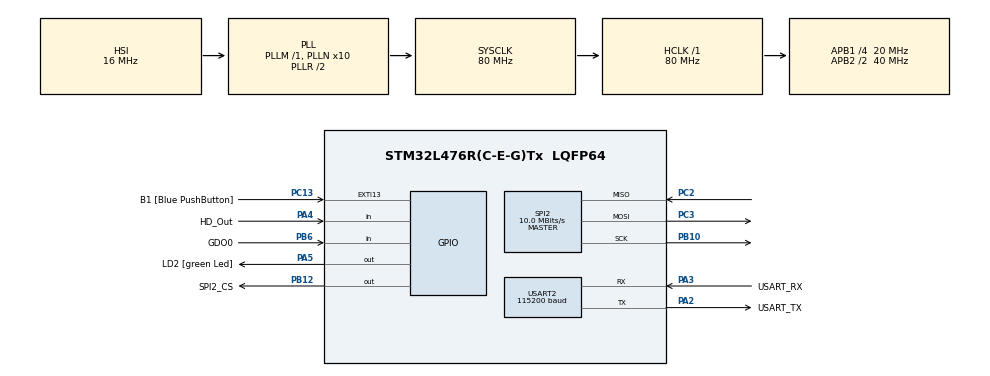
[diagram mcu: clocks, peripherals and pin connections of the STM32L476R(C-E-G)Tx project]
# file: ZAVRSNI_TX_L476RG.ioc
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FREERTOS.Queues01=myQueue01,1,uint8_t,0,Dynamic,NULL,NULL
FREERTOS.Tasks01=CC1101,24,200,StartCC1101,Default,NULL,Dynamic,NULL,NULL;HD,40,200,StartHD,Default,NULL,Dynamic,NULL,NULL
FREERTOS.configCHECK_FOR_STACK_OVERFLOW=2
FREERTOS.configGENERATE_RUN_TIME_STATS=1
FREERTOS.configRECORD_STACK_HIGH_ADDRESS=1
FREERTOS.configTICK_RATE_HZ=1000
FREERTOS.configUSE_STATS_FORMATTING_FUNCTIONS=1
Mcu.Family=STM32L4
Mcu.Name=STM32L476R(C-E-G)Tx
Mcu.Package=LQFP64
NVIC.PriorityGroup=NVIC_PRIORITYGROUP_4
NVIC.TIM3_IRQn=true\:15\:0\:false\:false\:true\:false\:false\:true\:true
NVIC.TimeBase=TIM3_IRQn
NVIC.TimeBaseIP=TIM3
PA13\ (JTMS-SWDIO).GPIO_Label=TMS
PA13\ (JTMS-SWDIO).Mode=Serial_Wire
PA13\ (JTMS-SWDIO).Signal=SYS_JTMS-SWDIO
PA14\ (JTCK-SWCLK).GPIO_Label=TCK
PA14\ (JTCK-SWCLK).Mode=Serial_Wire
PA14\ (JTCK-SWCLK).Signal=SYS_JTCK-SWCLK
PA2.GPIO_Label=USART_TX
PA2.GPIO_Mode=GPIO_MODE_AF_PP
PA2.GPIO_PuPd=GPIO_NOPULL
PA2.GPIO_Speed=GPIO_SPEED_FREQ_VERY_HIGH
PA2.Mode=Asynchronous
PA2.Signal=USART2_TX
PA3.GPIO_Label=USART_RX
PA3.GPIO_Mode=GPIO_MODE_AF_PP
PA3.GPIO_PuPd=GPIO_NOPULL
PA3.GPIO_Speed=GPIO_SPEED_FREQ_VERY_HIGH
PA3.Mode=Asynchronous
PA3.Signal=USART2_RX
PA4.GPIO_Label=HD_Out
PA4.Signal=GPIO_Input
PA5.GPIO_Label=LD2 [green Led]
PA5.GPIO_ModeDefaultOutputPP=GPIO_MODE_OUTPUT_PP
PA5.GPIO_PuPd=GPIO_NOPULL
PA5.GPIO_Speed=GPIO_SPEED_FREQ_LOW
PA5.Signal=GPIO_Output
PB10.Mode=Full_Duplex_Master
PB10.Signal=SPI2_SCK
PB12.GPIO_Label=SPI2_CS
PB12.PinState=GPIO_PIN_SET
PB12.Signal=GPIO_Output
PB3\ (JTDO-TRACESWO).GPIO_Label=SWO
PB3\ (JTDO-TRACESWO).Signal=SYS_JTDO-SWO
PB6.GPIO_Label=GDO0
PB6.Signal=GPIO_Input
PC13.GPIO_Label=B1 [Blue PushButton]
PC13.GPIO_ModeDefaultEXTI=GPIO_MODE_IT_FALLING
PC13.GPIO_PuPd=GPIO_NOPULL
PC13.Signal=GPXTI13
PC14-OSC32_IN\ (PC14).Mode=LSE-External-Oscillator
PC14-OSC32_IN\ (PC14).Signal=RCC_OSC32_IN
PC15-OSC32_OUT\ (PC15).Mode=LSE-External-Oscillator
PC15-OSC32_OUT\ (PC15).Signal=RCC_OSC32_OUT
PC2.Mode=Full_Duplex_Master
PC2.Signal=SPI2_MISO
PC3.Mode=Full_Duplex_Master
PC3.Signal=SPI2_MOSI
PH0-OSC_IN\ (PH0).Signal=RCC_OSC_IN
PH1-OSC_OUT\ (PH1).Signal=RCC_OSC_OUT
ProjectManager.HeapSize=0x200
ProjectManager.StackSize=0x400
ProjectManager.TargetToolchain=STM32CubeIDE
RCC.ADCFreq_Value=64000000
RCC.AHBFreq_Value=80000000
RCC.APB1CLKDivider=RCC_HCLK_DIV4
RCC.APB1Freq_Value=20000000
RCC.APB1TimFreq_Value=40000000
RCC.APB2CLKDivider=RCC_HCLK_DIV2
RCC.APB2Freq_Value=40000000
RCC.APB2TimFreq_Value=80000000
RCC.CortexFreq_Value=80000000
RCC.HCLKFreq_Value=80000000
RCC.HSE_VALUE=8000000
RCC.HSI_VALUE=16000000
RCC.MSI_VALUE=4000000
RCC.PLLN=10
RCC.PLLSourceVirtual=RCC_PLLSOURCE_HSI
RCC.SYSCLKFreq_VALUE=80000000
RCC.SYSCLKSource=RCC_SYSCLKSOURCE_PLLCLK
RCC.USBFreq_Value=64000000
RCC.VCOOutputFreq_Value=160000000
SPI2.BaudRatePrescaler=SPI_BAUDRATEPRESCALER_2
SPI2.CalculateBaudRate=10.0 MBits/s
SPI2.DataSize=SPI_DATASIZE_8BIT
SPI2.Direction=SPI_DIRECTION_2LINES
SPI2.Mode=SPI_MODE_MASTER
SPI2.NSSPMode=SPI_NSS_PULSE_DISABLE
SPI2.VirtualType=VM_MASTER
TIM1.Period=65535
TIM1.Prescaler=80-1
TIM2.Prescaler=1-1
USART2.BaudRate=115200
USART2.VirtualMode-Asynchronous=VM_ASYNC
VP_FREERTOS_VS_CMSIS_V2.Mode=CMSIS_V2
VP_SYS_VS_tim3.Mode=TIM3
VP_TIM1_VS_ClockSourceINT.Mode=Internal
VP_TIM2_VS_ClockSourceINT.Mode=Internal
board=NUCLEO-L476RG

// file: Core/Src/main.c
/* USER CODE BEGIN Header */
/**
  ******************************************************************************
  * @file           : main.c
  * @brief          : Main program body
  ******************************************************************************
  * @attention
  *
  * Copyright (c) 2024 STMicroelectronics.
  * All rights reserved.
  *
  * This software is licensed under terms that can be found in the LICENSE file
  * in the root directory of this software component.
  * If no LICENSE file comes with this software, it is provided AS-IS.
  *
  ******************************************************************************
  */
/* USER CODE END Header */
#include "main.h"
#include "cmsis_os.h"
#include "spi.h"
#include "tim.h"
#include "usart.h"
#include "gpio.h"

/* USER CODE BEGIN Includes */
#include "CC1101_E07_M1101D_SMA.h"
#include <string.h>
/* USER CODE END Includes */

void SystemClock_Config(void);
void MX_FREERTOS_Init(void);

int main(void)
{

  /* MCU Configuration--------------------------------------------------------*/

  /* Reset of all peripherals, Initializes the Flash interface and the Systick. */
  HAL_Init();

  /* Configure the system clock */
  SystemClock_Config();

  /* Initialize all configured peripherals */
  MX_GPIO_Init();
  MX_USART2_UART_Init();
  MX_SPI2_Init();
  MX_TIM1_Init();
  MX_TIM2_Init();
  /* USER CODE BEGIN 2 */
  HAL_TIM_Base_Start(&htim1);
  HAL_TIM_Base_Start(&htim2);

  manual_POR();
  cc1101_init(1);

  /* USER CODE END 2 */

  /* Init scheduler */
  osKernelInitialize();  /* Call init function for freertos objects (in freertos.c) */
  MX_FREERTOS_Init();

  /* Start scheduler */
  osKernelStart();

  /* We should never get here as control is now taken by the scheduler */
  /* Infinite loop */
  while (1)
  {

  }
}

void SystemClock_Config(void)
{
  RCC_OscInitTypeDef RCC_OscInitStruct = {0};
  RCC_ClkInitTypeDef RCC_ClkInitStruct = {0};

  /** Configure the main internal regulator output voltage
  */
  if (HAL_PWREx_ControlVoltageScaling(PWR_REGULATOR_VOLTAGE_SCALE1) != HAL_OK)
  {
    Error_Handler();
  }

  /** Initializes the RCC Oscillators according to the specified parameters
  * in the RCC_OscInitTypeDef structure.
  */
  RCC_OscInitStruct.OscillatorType = RCC_OSCILLATORTYPE_HSI;
  RCC_OscInitStruct.HSIState = RCC_HSI_ON;
  RCC_OscInitStruct.HSICalibrationValue = RCC_HSICALIBRATION_DEFAULT;
  RCC_OscInitStruct.PLL.PLLState = RCC_PLL_ON;
  RCC_OscInitStruct.PLL.PLLSource = RCC_PLLSOURCE_HSI;
  RCC_OscInitStruct.PLL.PLLM = 1;
  RCC_OscInitStruct.PLL.PLLN = 10;
  RCC_OscInitStruct.PLL.PLLP = RCC_PLLP_DIV7;
  RCC_OscInitStruct.PLL.PLLQ = RCC_PLLQ_DIV2;
  RCC_OscInitStruct.PLL.PLLR = RCC_PLLR_DIV2;
  if (HAL_RCC_OscConfig(&RCC_OscInitStruct) != HAL_OK)
  {
    Error_Handler();
  }

  /** Initializes the CPU, AHB and APB buses clocks
  */
  RCC_ClkInitStruct.ClockType = RCC_CLOCKTYPE_HCLK|RCC_CLOCKTYPE_SYSCLK
                              |RCC_CLOCKTYPE_PCLK1|RCC_CLOCKTYPE_PCLK2;
  RCC_ClkInitStruct.SYSCLKSource = RCC_SYSCLKSOURCE_PLLCLK;
  RCC_ClkInitStruct.AHBCLKDivider = RCC_SYSCLK_DIV1;
  RCC_ClkInitStruct.APB1CLKDivider = RCC_HCLK_DIV4;
  RCC_ClkInitStruct.APB2CLKDivider = RCC_HCLK_DIV2;

  if (HAL_RCC_ClockConfig(&RCC_ClkInitStruct, FLASH_LATENCY_4) != HAL_OK)
  {
    Error_Handler();
  }
}

void HAL_TIM_PeriodElapsedCallback(TIM_HandleTypeDef *htim)
{
  if (htim->Instance == TIM3) {
    HAL_IncTick();
  }
}

void Error_Handler(void)
{
  __disable_irq();
  while (1)
  {
  }
}

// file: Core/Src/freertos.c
/* USER CODE BEGIN Header */
/**
  ******************************************************************************
  * File Name          : freertos.c
  * Description        : Code for freertos applications
  ******************************************************************************
  * @attention
  *
  * Copyright (c) 2024 STMicroelectronics.
  * All rights reserved.
  *
  * This software is licensed under terms that can be found in the LICENSE file
  * in the root directory of this software component.
  * If no LICENSE file comes with this software, it is provided AS-IS.
  *
  ******************************************************************************
  */
/* USER CODE END Header */

#include "FreeRTOS.h"
#include "task.h"
#include "main.h"
#include "cmsis_os.h"

/* USER CODE BEGIN Includes */
#include "usart.h"
#include "CC1101_E07_M1101D_SMA.h"
#include <string.h>
#include <stdio.h>
/* USER CODE END Includes */

/* Definitions for CC1101 */
osThreadId_t CC1101Handle;
const osThreadAttr_t CC1101_attributes = {
  .name = "CC1101",
  .stack_size = 200 * 4,
  .priority = (osPriority_t) osPriorityNormal,
};
/* Definitions for HD */
osThreadId_t HDHandle;
const osThreadAttr_t HD_attributes = {
  .name = "HD",
  .stack_size = 200 * 4,
  .priority = (osPriority_t) osPriorityHigh,
};
/* Definitions for myQueue01 */
osMessageQueueId_t myQueue01Handle;
const osMessageQueueAttr_t myQueue01_attributes = {
  .name = "myQueue01"
};

void StartCC1101(void *argument);
void StartHD(void *argument);

void MX_FREERTOS_Init(void); /* (MISRA C 2004 rule 8.1) */

/* Hook prototypes */
void configureTimerForRunTimeStats(void);
unsigned long getRunTimeCounterValue(void);
void vApplicationStackOverflowHook(xTaskHandle xTask, signed char *pcTaskName);

/* USER CODE BEGIN 1 */
/* Functions needed when configGENERATE_RUN_TIME_STATS is on */
__weak void configureTimerForRunTimeStats(void)
{
	CoreDebug->DEMCR |= CoreDebug_DEMCR_TRCENA_Msk;
	DWT->CTRL |= 1;
	DWT->CYCCNT = 0;
}

__weak unsigned long getRunTimeCounterValue(void)
{
	return DWT->CYCCNT;
}
/* USER CODE END 1 */

/* USER CODE BEGIN 4 */
void vApplicationStackOverflowHook(xTaskHandle xTask, signed char *pcTaskName)
{
   /* Run time stack overflow checking is performed if
   configCHECK_FOR_STACK_OVERFLOW is defined to 1 or 2. This hook function is
   called if a stack overflow is detected. */
}
/* USER CODE END 4 */

void MX_FREERTOS_Init(void) {

  /* Create the queue(s) */
  /* creation of myQueue01 */
  myQueue01Handle = osMessageQueueNew (1, sizeof(uint8_t), &myQueue01_attributes);

  /* Create the thread(s) */
  /* creation of CC1101 */
  CC1101Handle = osThreadNew(StartCC1101, NULL, &CC1101_attributes);

  /* creation of HD */
  HDHandle = osThreadNew(StartHD, NULL, &HD_attributes);

}

void StartCC1101(void *argument)
{
  /* USER CODE BEGIN StartCC1101 */
  uint8_t msg;
  /* Infinite loop */
  for(;;)
  {
	  osMessageQueueGet(myQueue01Handle, &msg, 0, 0);
	  if(msg == 0xFF)
	  {
		  transmit_burst_byte_433();
	  }
	  osDelay(500 * configTICK_RATE_HZ / 500);
  }
  /* USER CODE END StartCC1101 */
}

void StartHD(void *argument)
{
  /* USER CODE BEGIN StartHD */
  uint8_t msg;
  /* Infinite loop */
  for(;;)
  {
	  if(HAL_GPIO_ReadPin(HD_Out_GPIO_Port, HD_Out_Pin))
	  {
		  msg = 0xFF;
		  osMessageQueuePut(myQueue01Handle, &msg, 0, 0);
	  }
	  else
	  {
		  msg = 0x00;
		  osMessageQueuePut(myQueue01Handle, &msg, 0, 0);
	  }
	  osDelay(100 * configTICK_RATE_HZ / 100);
  }
  /* USER CODE END StartHD */
}
